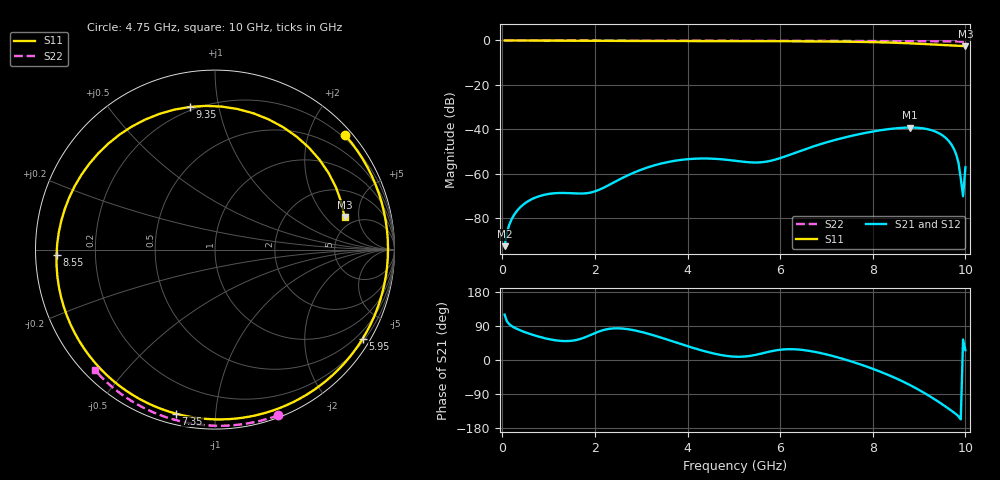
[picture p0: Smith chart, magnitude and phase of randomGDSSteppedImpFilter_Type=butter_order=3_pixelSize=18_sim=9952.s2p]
! freq	dB(S11)	phase(S11)	dB(S12)	phase(S12)
!  dB(S21)	phase(S21)	dB(S22)	phase(S22)
!S-par simulation data
#  GHz  S  DB  R 50
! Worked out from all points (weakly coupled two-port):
!   200 points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, 50 MHz to 10 GHz, reference 50 ohm
!   highest |S21| = -39.23 dB at 8.8 GHz (marker M1); lowest = -92.7 dB at 50 MHz (marker M2)
!   lowest |S11| = -2.6 dB at 10 GHz (marker M3), VSWR 6.81, Z = 202 + j164 ohm
!   |S11| at or under -10 dB: nowhere
!   |S22| runs from -0.5 to 0.0 dB; largest |S21 - S12| = 0
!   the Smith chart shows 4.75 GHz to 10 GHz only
!   S11 on the Smith chart (normalised r, x): 4.75 GHz: 0.14, +2.64; 5.95 GHz: 0.28, -3.57; 7.35 GHz: 0.05, -0.79; 8.55 GHz: 0.06, -0.02; 9.35 GHz: 0.18, +0.82; 10 GHz: 4.04, +3.29
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0.05  -0.00 -3.3  -92.67 119.7  -92.67 119.7  -0.00 -0.8
0.45  -0.02 -29.4  -73.98 75.3  -73.98 75.3  -0.01 -6.9
0.95  -0.08 -61.6  -69.33 56.5  -69.33 56.5  -0.02 -14.5
1.75  -0.14 -113.1  -68.93 58.2  -68.93 58.2  -0.03 -26.5
2.6  -0.20 -168.9  -61.87 83.0  -61.87 83.0  -0.05 -39.0
3  -0.23 163.8  -58.21 74.2  -58.21 74.2  -0.06 -44.7
3.4  -0.25 135.9  -55.60 60.2  -55.60 60.2  -0.07 -50.4
4.05  -0.28 89.7  -53.40 34.6  -53.40 34.6  -0.08 -59.5
4.75  -0.30 41.4  -53.56 12.6  -53.56 12.6  -0.10 -69.0
5.05  -0.31 21.9  -54.25 8.7  -54.25 8.7  -0.11 -73.0
5.95  -0.35 -31.1  -53.33 26.3  -53.33 26.3  -0.15 -84.7
6.7  -0.42 -70.3  -47.85 22.6  -47.85 22.6  -0.18 -94.2
7.35  -0.54 -103.4  -43.93 3.2  -43.93 3.2  -0.22 -102.2
7.85  -0.69 -130.7  -41.60 -16.6  -41.60 -16.6  -0.25 -108.3
8.35  -0.94 -162.9  -39.91 -40.3  -39.91 -40.3  -0.29 -114.4
8.55  -1.08 -178.0  -39.48 -51.1  -39.48 -51.1  -0.31 -116.8
8.8  -1.29 160.4  -39.23 -65.9  -39.23 -65.9  -0.33 -119.8
9.35  -1.86 100.1  -41.02 -104.8  -41.02 -104.8  -0.39 -126.6
9.75  -2.24 47.5  -48.77 -138.3  -48.77 -138.3  -0.44 -131.7
9.85  -2.35 34.1  -54.99 -148.4  -54.99 -148.4  -0.45 -133.0
9.95  -2.48 20.7  -70.16 54.2  -70.16 54.2  -0.47 -134.4
10  -2.57 14.1  -57.14 25.9  -57.14 25.9  -0.47 -135.1
